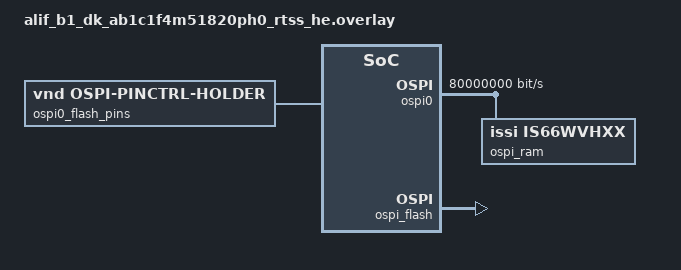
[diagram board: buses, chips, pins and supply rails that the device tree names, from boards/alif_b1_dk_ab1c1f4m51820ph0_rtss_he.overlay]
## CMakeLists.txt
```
# Copyright (C) Alif Semiconductor - All Rights Reserved.
# Use, distribution and modification of this code is permitted under the
# terms stated in the Alif Semiconductor Software License Agreement
#
# You should have received a copy of the Alif Semiconductor Software
# License Agreement with this file. If not, please write to:
# contact@alifsemi.com, or visit: https://alifsemi.com/license

cmake_minimum_required(VERSION 3.20.0)
find_package(Zephyr REQUIRED HINTS $ENV{ZEPHYR_BASE})
project(spi_flash_to_psram_copy)

target_sources(app PRIVATE src/main.c)
target_sources_ifdef(CONFIG_MEMC app PRIVATE src/flash_to_psram.c)
```

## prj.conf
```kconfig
# Copyright (C) Alif Semiconductor - All Rights Reserved.
# Use, distribution and modification of this code is permitted under the
# terms stated in the Alif Semiconductor Software License Agreement
#
# You should have received a copy of the Alif Semiconductor Software
# License Agreement with this file. If not, please write to:
# contact@alifsemi.com, or visit: https://alifsemi.com/license

#FLASH
CONFIG_STDOUT_CONSOLE=y
CONFIG_FLASH=y
CONFIG_LOG=y
CONFIG_EVENTS=y
CONFIG_MAIN_STACK_SIZE=8192
CONFIG_FLASH_LOG_LEVEL_DBG=n

# CRC32 used by flash_to_psram_verify()
CONFIG_CRC=y

# Bring-up diagnostics: flush prints synchronously and dump faults.
CONFIG_LOG_MODE_IMMEDIATE=y
CONFIG_EXCEPTION_STACK_TRACE=y

#RAM
CONFIG_PRINTK=y
CONFIG_ARM_MPU=y
CONFIG_MEMC=y
CONFIG_MEMC_OSPI_ALIF=y
CONFIG_USE_ALIF_HAL_OSPI=y
```

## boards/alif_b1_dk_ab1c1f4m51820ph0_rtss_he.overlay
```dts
/* Copyright (C) Alif Semiconductor - All Rights Reserved.
 * Use, distribution and modification of this code is permitted under the
 * terms stated in the Alif Semiconductor Software License Agreement
 *
 * You should have received a copy of the Alif Semiconductor Software
 * License Agreement with this file. If not, please write to:
 * contact@alifsemi.com, or visit: https://alifsemi.com/license
 *
 */

#include <dt-bindings/misc/alif_aipm_common.h>

/* Keep the Debug Subsystem (DBSS) powered so a debugger stays connected. */
&aipm_run_default {
	aipm-power-domains = <(ALIF_PD_SSE700_AON_MASK |
			       ALIF_PD_SYST_MASK | ALIF_PD_SESS_MASK |
			       ALIF_PD_DBSS_MASK)>;
};

/*
 * Combined OSPI0 configuration: both the external OSPI flash (SS1_B / P2_1)
 * and the HyperRAM PSRAM (SS0_A / P0_2) share the single OSPI0 controller,
 * the SCLK, the D0..D7 data lines and the RXDS strobe.
 *
 * Build this WITHOUT the `ospi-flash` / `ospi-psram` snippets -- this overlay
 * already declares both devices and all pinctrl states.
 *
 * KEY: the two devices must NOT be muxed onto the bus at the same time. When
 * the PSRAM chip-select (SS0_A) is muxed while the flash performs an octal-DDR
 * read, the physically-present HyperRAM loads the shared RXDS strobe and the
 * read never completes (hang). The loader (flash_to_psram.c) therefore owns
 * two pinctrl states and swaps them every chunk so that exactly one device is
 * connected to the bus at a time; the deselected device's chip-select is
 * parked on GPIO (released) so it stays fully quiescent.
 *
 * The PSRAM (memc) driver is `zephyr,deferred-init`: it never runs. The loader
 * drives the OSPI0 HAL directly to alternate flash reads and PSRAM XiP writes.
 */

/ {
	aliases {
		spi-flash0 = &ospi_flash;
		spi-psram = &ospi_ram;
	};

	/*
	 * Helper nodes that let the loader apply either pin state at run time.
	 * They carry no `reg` (the Alif pinctrl driver ignores it) and a
	 * placeholder compatible (`vnd,ospi-pinctrl-holder`, no driver) so that
	 * gen_defines types `pinctrl-0` as phandles and PINCTRL_DT_DEFINE() in
	 * the loader can own a pinctrl_dev_config for each state. Keeping the
	 * custom "psram" state off &ospi0 avoids breaking the flash driver's
	 * PINCTRL_DT_DEFINE.
	 */
	ospi0_flash_pins: ospi0-flash-pins {
		compatible = "vnd,ospi-pinctrl-holder";
		pinctrl-0 = <&pinctrl_ospi0_flash>;
		pinctrl-names = "default";
	};

	ospi0_psram_pins: ospi0-psram-pins {
		compatible = "vnd,ospi-pinctrl-holder";
		pinctrl-0 = <&pinctrl_ospi0_psram>;
		pinctrl-names = "default";
	};
};

&pinctrl {
	/*
	 * The board default `pinctrl_ahi_trace` muxes the AHI-trace UART onto
	 * three OSPI0 pins (P4_2 = SCLK, P4_1 = RXDS, P3_6 = D6), which clobbers
	 * the flash bus at boot and hangs the first read. Re-route trace to the
	 * P8 pins (matches the vendor `ospi-flash` snippet) so OSPI0 keeps them.
	 */
	pinctrl_ahi_trace: pinctrl_ahi_trace {
		group0 {
			pinmux = <PIN_P8_7__EXT_TX_B>,
				 <PIN_P8_3__EXT_RTS_B>,
				 <PIN_P8_5__EXT_TRACE_B>;
			read-enable = <0x0>;
		};
	};

	/*
	 * FLASH bus state: SCLK + flash CS (SS1_B) driven, data/strobe as input,
	 * PSRAM CS (P0_2) parked on GPIO so the HyperRAM is released.
	 */
	pinctrl_ospi0_flash: pinctrl_ospi0_flash {
		group0 {
			pinmux = <PIN_P4_2__OSPI0_SCLK_A>,
				 <PIN_P2_1__OSPI0_SS1_B>;
			read-enable = <0x0>;
			drive-strength = <12>;
			slew-rate = <0x1>;
		};

		group1 {
			pinmux = <PIN_P4_1__OSPI0_RXDS_A>,
				 <PIN_P3_0__OSPI0_D0_A>,
				 <PIN_P3_1__OSPI0_D1_A>,
				 <PIN_P3_2__OSPI0_D2_A>,
				 <PIN_P3_3__OSPI0_D3_A>,
				 <PIN_P3_4__OSPI0_D4_A>,
				 <PIN_P3_5__OSPI0_D5_A>,
				 <PIN_P3_6__OSPI0_D6_A>,
				 <PIN_P3_7__OSPI0_D7_A>;
			read-enable = <0x1>;
			drive-strength = <12>;
			slew-rate = <0x1>;
		};

		group2 {
			/* Park PSRAM CS as GPIO input -> HyperRAM released. */
			pinmux = <PIN_P0_2__GPIO>;
			read-enable = <0x1>;
		};
	};

	/*
	 * PSRAM bus state: SCLK + PSRAM CS (SS0_A) driven, data/strobe as input,
	 * flash CS (P2_1) parked on GPIO so the flash is released.
	 */
	pinctrl_ospi0_psram: pinctrl_ospi0_psram {
		group0 {
			pinmux = <PIN_P4_2__OSPI0_SCLK_A>,
				 <PIN_P0_2__OSPI0_SS0_A>;
			read-enable = <0x0>;
			drive-strength = <12>;
			slew-rate = <0x1>;
		};

		group1 {
			pinmux = <PIN_P4_1__OSPI0_RXDS_A>,
				 <PIN_P3_0__OSPI0_D0_A>,
				 <PIN_P3_1__OSPI0_D1_A>,
				 <PIN_P3_2__OSPI0_D2_A>,
				 <PIN_P3_3__OSPI0_D3_A>,
				 <PIN_P3_4__OSPI0_D4_A>,
				 <PIN_P3_5__OSPI0_D5_A>,
				 <PIN_P3_6__OSPI0_D6_A>,
				 <PIN_P3_7__OSPI0_D7_A>;
			read-enable = <0x1>;
			drive-strength = <12>;
			slew-rate = <0x1>;
		};

		group2 {
			/* Park flash CS as GPIO input -> flash released. */
			pinmux = <PIN_P2_1__GPIO>;
			read-enable = <0x1>;
		};
	};
};

&ospi0 {
	/*
	 * Boot state = flash pins so the flash driver comes up cleanly. The
	 * loader re-applies this (or the PSRAM state) as it alternates.
	 *
	 * cs-pin = 1 -> flash uses SS1_B. Controller timing here is the flash
	 * known-good set (ddr-drive-edge=1, rx-ds-delay=11); the loader
	 * reprograms ddr-drive-edge/rx-ds-delay to the PSRAM values around each
	 * XiP write. xip-wait-cycles / xip-base-address are the PSRAM XiP set.
	 */
	pinctrl-0 = <&pinctrl_ospi0_flash>;
	pinctrl-names = "default";

	cs-pin = <1>;
	baud2-delay = <1>;
	rx-ds-delay = <11>;
	xip-wait-cycles = <7>;
	tx-fifo-threshold = <64>;
	ddr-drive-edge = <1>;
	clocks = <&clockctrl ALIF_OSPI_CLK>;
	xip-base-address = <0xA0000000 0x10000000>;
	bus-speed = <80000000>;
	status = "okay";

	ospi_ram: hyperram {
		compatible = "issi,is66wvhxx";
		size = <DT_SIZE_M(64)>;
		/* Never brought up as a Zephyr device; the loader drives XiP. */
		zephyr,deferred-init;
		status = "okay";
	};
};

&ospi_flash {
	status = "okay";
};
```

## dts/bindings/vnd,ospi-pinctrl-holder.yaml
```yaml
# Copyright (C) Alif Semiconductor - All Rights Reserved.
# Use, distribution and modification of this code is permitted under the
# terms stated in the Alif Semiconductor Software License Agreement
#
# You should have received a copy of the Alif Semiconductor Software
# License Agreement with this file. If not, please write to:
# contact@alifsemi.com, or visit: https://alifsemi.com/license

# Placeholder node that only carries an OSPI0 pinctrl state so the loader can
# own a pinctrl_dev_config (via PINCTRL_DT_DEFINE) and apply the state at run
# time. Including pinctrl-device.yaml is what makes gen_defines type the
# `pinctrl-0` property as phandles (otherwise the pinctrl phandle/child macros
# are not emitted for the node).

description: OSPI pinctrl state holder (no driver, runtime pin switching only)

compatible: "vnd,ospi-pinctrl-holder"

include: [pinctrl-device.yaml]
```

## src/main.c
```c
/* Copyright (C) Alif Semiconductor - All Rights Reserved.
 * Use, distribution and modification of this code is permitted under the
 * terms stated in the Alif Semiconductor Software License Agreement
 *
 * You should have received a copy of the Alif Semiconductor Software
 * License Agreement with this file. If not, please write to:
 * contact@alifsemi.com, or visit: https://alifsemi.com/license
 *
 */

#include <stdio.h>
#include <string.h>
#include <zephyr/device.h>
#include <zephyr/devicetree.h>
#include <zephyr/drivers/flash.h>
#include <zephyr/kernel.h>

#include "flash_to_psram.h"

#define SPI_FLASH_TEST_REGION_OFFSET 0x0
#define SPI_FLASH_SECTOR_SIZE        4096
#define BUFF_SIZE                    1024

#define FLASH_ALIAS_NODE DT_ALIAS(spi_flash0)

const struct flash_parameters *flash_param;

int main(void)
{
	printk("%s: start\n",  __func__);

#if DT_NODE_EXISTS(FLASH_ALIAS_NODE)
	const struct device *flash_dev = DEVICE_DT_GET(FLASH_ALIAS_NODE);

	if (!device_is_ready(flash_dev)) {
		printk("%s: device not ready.\n", flash_dev->name);
		return -1;
	}
#else
	printk("spi_flash0 alias not defined; sample requires the board overlay.\n");
	return -ENOTSUP;
#endif

	/*
	 * Copy the first 4MB of the flash into the PSRAM XiP window and verify
	 * it. The copy alternates OSPI0 between the flash and the PSRAM one chunk
	 * at a time and leaves the bus in PSRAM XiP mode -- return once done.
	 */
	int err = flash_to_psram_copy(0, 0, 4 * 1024 * 1024);

	if (err != 0) {
		printk("flash_to_psram_copy failed: %d\n", err);
		return err;
	}

	err = flash_to_psram_verify(0, 4 * 1024 * 1024);
	if (err != 0) {
		printk("flash_to_psram_verify failed: %d\n", err);
		return err;
	}

	return 0;
}
```

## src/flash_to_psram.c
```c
/* Copyright (C) Alif Semiconductor - All Rights Reserved.
 * Use, distribution and modification of this code is permitted under the
 * terms stated in the Alif Semiconductor Software License Agreement
 *
 * You should have received a copy of the Alif Semiconductor Software
 * License Agreement with this file. If not, please write to:
 * contact@alifsemi.com, or visit: https://alifsemi.com/license
 *
 */

/*
 * OSPI-flash -> OSPI-HyperRAM (PSRAM) copy loader for the Balletto B1
 * (alif_b1_dk .../rtss_he).
 *
 * The OSPI flash and the HyperRAM PSRAM share the single OSPI0 controller
 * (SCLK, D0..D7 and the RXDS strobe). They cannot both be connected to the
 * bus at once, so this loader copies an arbitrarily large payload by
 * *alternating* the bus between the two devices, one SRAM-sized chunk at a
 * time -- there is no requirement that the payload fit in SRAM.
 *
 * Per chunk:
 *
 *   FLASH phase:
 *     - leave PSRAM XiP mode                        (aes_disable_xip)
 *     - apply the flash pin state                   (flash CS muxed,
 *                                                    PSRAM CS parked on GPIO)
 *     - restore flash DDR-capture timing            (ddr-drive-edge / rx-ds)
 *     - flash_read() one chunk into an SRAM buffer  (Zephyr flash driver,
 *                                                    IRQ-backed, owns OSPI0
 *                                                    command mode)
 *   PSRAM phase:
 *     - apply the PSRAM pin state                   (PSRAM CS muxed,
 *                                                    flash CS parked on GPIO)
 *     - set PSRAM DDR-capture timing                (ddr-drive-edge / rx-ds)
 *     - reconfigure OSPI0 for octal-DDR HyperRAM    (prepare_transfer +
 *                                                    ospi_hyperbus_xip_init +
 *                                                    aes_enable_xip)
 *     - copy the chunk into the PSRAM XiP window    (memory-mapped stores)
 *
 * Because the *deselected* device's chip-select is parked on GPIO, only one
 * device is ever electrically connected to the shared RXDS strobe, which is
 * what makes the octal-DDR flash read reliable (a muxed idle HyperRAM CS
 * otherwise loads the strobe and the read hangs).
 *
 * The PSRAM XiP window (0xA0000000) is in the Cortex-M55 default Device
 * memory region (non-cacheable, ordered), so the memory-mapped writes reach
 * the controller directly; a single completion barrier per chunk is enough.
 *
 * On return from a successful copy the bus is left in PSRAM XiP mode with the
 * PSRAM pins applied, so the copied data is immediately readable (execute-in-
 * place) at PSRAM_XIP_BASE and flash_to_psram_verify() can read it back.
 *
 * NOTE: board bring-up code. The per-device DDR-capture timing values below
 * are the vendor snippet defaults and can be tuned on real hardware.
 */

#include <zephyr/kernel.h>
#include <zephyr/device.h>
#include <zephyr/devicetree.h>
#include <zephyr/drivers/flash.h>
#include <zephyr/drivers/pinctrl.h>
#include <zephyr/sys/util.h>
#include <zephyr/sys/barrier.h>
#include <zephyr/sys/crc.h>
#include <string.h>

#include "flash_to_psram.h"

#define FLASH_NODE	DT_ALIAS(spi_flash0)
#define PSRAM_NODE	DT_ALIAS(spi_psram)

#if DT_NODE_EXISTS(FLASH_NODE) && DT_NODE_EXISTS(PSRAM_NODE)

#include "ospi_hal.h"
#include "ospi.h"

/* The OSPI0 controller node (parent of both the flash and the PSRAM child). */
#define OSPI0_NODE	DT_PARENT(PSRAM_NODE)

/* PSRAM XiP window base address (declared on the OSPI0 controller node). */
#define PSRAM_XIP_BASE	DT_PROP_BY_IDX(OSPI0_NODE, xip_base_address, 0)
#define PSRAM_XIP_SIZE	DT_PROP_BY_IDX(OSPI0_NODE, xip_base_address, 1)

/* Usable destination = min(physical HyperRAM size, controller XiP window). */
#define PSRAM_USABLE_SIZE \
	MIN((size_t)PSRAM_XIP_SIZE, (size_t)DT_PROP(PSRAM_NODE, size))

/*
 * Per-device DDR-capture timing. Flash values are the OSPI0 node defaults;
 * PSRAM values are the vendor `ospi-psram` snippet defaults. They are applied
 * to the shared controller registers around each phase. Override from the
 * build if a board needs different values.
 */
#ifndef FLASH_DDR_DRIVE_EDGE
#define FLASH_DDR_DRIVE_EDGE	1U
#endif
#ifndef FLASH_RX_DS_DELAY
#define FLASH_RX_DS_DELAY	11U
#endif
#ifndef PSRAM_DDR_DRIVE_EDGE
#define PSRAM_DDR_DRIVE_EDGE	0U
#endif
#ifndef PSRAM_RX_DS_DELAY
#define PSRAM_RX_DS_DELAY	8U
#endif

/* PSRAM chip-select (SS0_A). */
#define PSRAM_CS_PIN		0U

/* HyperRAM R/W transactions are octal-DDR commands with 16-bit frames.
 * Note! Must be a positive multiple of 2
 */
#define PSRAM_OSPI_DFS		16U

/* SRAM staging buffer size per alternating chunk (tunable). */
#ifndef FLASH_TO_PSRAM_CHUNK
#define FLASH_TO_PSRAM_CHUNK	(8U * 1024U)
#endif

/* Pin states (owned via helper DT nodes so the flash driver is unaffected). */
PINCTRL_DT_DEFINE(DT_NODELABEL(ospi0_flash_pins));
PINCTRL_DT_DEFINE(DT_NODELABEL(ospi0_psram_pins));

static const struct pinctrl_dev_config *const flash_pins =
	PINCTRL_DT_DEV_CONFIG_GET(DT_NODELABEL(ospi0_flash_pins));
static const struct pinctrl_dev_config *const psram_pins =
	PINCTRL_DT_DEV_CONFIG_GET(DT_NODELABEL(ospi0_psram_pins));

static struct ospi_regs *const ospi_regs =
	(struct ospi_regs *)DT_REG_ADDR(OSPI0_NODE);
static struct ospi_aes_regs *const ospi_aes =
	(struct ospi_aes_regs *)DT_PROP_BY_IDX(OSPI0_NODE, aes_reg, 0);

static uint8_t stage_buf[FLASH_TO_PSRAM_CHUNK] __aligned(4);

static HAL_OSPI_Handle_T psram_handle;
static bool psram_handle_ready;

static void loader_ospi_event_cb(uint32_t event, void *user_data)
{
	ARG_UNUSED(event);
	ARG_UNUSED(user_data);
}

/*
 * One-time: grab a second OSPI0 HAL instance for the PSRAM chip-select. This
 * writes the shared controller globals (thresholds, bus speed, baud2); the
 * per-phase timing (ddr-drive-edge / rx-ds-delay) is (re)programmed on every
 * switch, so the values passed here only seed the instance.
 */
static int psram_handle_init(void)
{
	struct ospi_init init_config;
	int32_t ret;

	if (psram_handle_ready) {
		return 0;
	}

	memset(&init_config, 0, sizeof(init_config));
	init_config.core_clk = DT_PROP(OSPI0_NODE, clock_frequency);
	init_config.bus_speed = DT_PROP(OSPI0_NODE, bus_speed);
	init_config.tx_fifo_threshold = DT_PROP(OSPI0_NODE, tx_fifo_threshold);
	init_config.rx_fifo_threshold = 0U;
	init_config.rx_sample_delay = 0U;
	init_config.ddr_drive_edge = PSRAM_DDR_DRIVE_EDGE;
	init_config.cs_pin = PSRAM_CS_PIN;
	init_config.rx_ds_delay = PSRAM_RX_DS_DELAY;
	init_config.baud2_delay = DT_PROP(OSPI0_NODE, baud2_delay);
	init_config.base_regs = (uint32_t *)ospi_regs;
	init_config.aes_regs = (uint32_t *)ospi_aes;
	init_config.event_cb = loader_ospi_event_cb;
	init_config.user_data = NULL;

	ret = alif_hal_ospi_initialize(&psram_handle, &init_config);
	if (ret != 0) {
		printk("copy: psram HAL init failed: %d\n", (int)ret);
		return -EIO;
	}

	psram_handle_ready = true;
	return 0;
}

/* Hand the shared bus to the flash: leave XiP, mux flash pins, flash timing. */
static int bus_to_flash(void)
{
	int ret;

	aes_disable_xip(ospi_aes);
	ret = pinctrl_apply_state(flash_pins, PINCTRL_STATE_DEFAULT);
	if (ret != 0) {
		printk("copy: apply flash pinctrl failed: %d\n", ret);
		return ret;
	}
	ospi_set_ddr_drive_edge(ospi_regs, FLASH_DDR_DRIVE_EDGE);
	ospi_aes->AES_RXDS_DLY = FLASH_RX_DS_DELAY;
	return 0;
}

/*
 * Hand the shared bus to the PSRAM: mux PSRAM pins, PSRAM timing, reconfigure
 * OSPI0 for octal-DDR HyperRAM and enter memory-mapped XiP.
 */
static int bus_to_psram(void)
{
	struct ospi_trans_config trans_conf;
	struct ospi_xip_config xip_cfg;
	int ret;

	ret = pinctrl_apply_state(psram_pins, PINCTRL_STATE_DEFAULT);
	if (ret != 0) {
		printk("copy: apply psram pinctrl failed: %d\n", ret);
		return ret;
	}
	ospi_set_ddr_drive_edge(ospi_regs, PSRAM_DDR_DRIVE_EDGE);
	ospi_aes->AES_RXDS_DLY = PSRAM_RX_DS_DELAY;

	memset(&trans_conf, 0, sizeof(trans_conf));
	trans_conf.frame_size = PSRAM_OSPI_DFS;
	trans_conf.frame_format = OSPI_FRF_OCTAL;
	trans_conf.ddr_enable = OSPI_DDR_ENABLE;
	ret = alif_hal_ospi_prepare_transfer(psram_handle, &trans_conf);
	if (ret != 0) {
		printk("copy: PSRAM transfer setup failed: %d\n", ret);
		return ret;
	}

	memset(&xip_cfg, 0, sizeof(xip_cfg));
	xip_cfg.xip_wait_cycles = DT_PROP(OSPI0_NODE, xip_wait_cycles);
	xip_cfg.xip_cs_pin = PSRAM_CS_PIN;
	ospi_hyperbus_xip_init(ospi_regs, &xip_cfg, false);

	aes_enable_xip(ospi_aes);
	return 0;
}

/* Copy one chunk from the SRAM buffer into the PSRAM XiP window (16-bit). */
static void psram_xip_write(off_t psram_off, const uint8_t *src, size_t len)
{
	volatile uint16_t *dst =
		(volatile uint16_t *)(uintptr_t)(PSRAM_XIP_BASE + psram_off);
	const uint16_t *words = (const uint16_t *)src;
	size_t nwords = len / sizeof(uint16_t);

	for (size_t i = 0; i < nwords; i++) {
		dst[i] = words[i];
	}

	barrier_dsync_fence_full();
}

int flash_to_psram_copy(off_t flash_off, off_t psram_off, size_t len)
{
	const struct device *flash_dev = DEVICE_DT_GET(FLASH_NODE);
	int ret;

	if (len == 0U) {
		return 0;
	}

	/* 16-bit HyperRAM frames and the XiP window must contain the destination. */
	if (psram_off < 0 || (len % 2U) != 0U || (psram_off % 2) != 0 ||
	    (size_t)psram_off > PSRAM_USABLE_SIZE ||
	    len > PSRAM_USABLE_SIZE - (size_t)psram_off) {
		return -EINVAL;
	}

	if (!device_is_ready(flash_dev)) {
		return -ENODEV;
	}

	ret = psram_handle_init();
	if (ret != 0) {
		return ret;
	}

	printk("copy: %zu bytes flash@0x%lx -> psram@0x%lx (chunk %uB)\n",
	       len, (unsigned long)flash_off, (unsigned long)psram_off,
	       (unsigned int)FLASH_TO_PSRAM_CHUNK);

	for (size_t done = 0; done < len; done += FLASH_TO_PSRAM_CHUNK) {
		size_t chunk = MIN((size_t)FLASH_TO_PSRAM_CHUNK, len - done);

		/* FLASH phase: stage one chunk from flash into SRAM. */
		ret = bus_to_flash();
		if (ret != 0) {
			return ret;
		}
		ret = flash_read(flash_dev, flash_off + done, stage_buf, chunk);
		if (ret != 0) {
			printk("copy: flash_read @0x%zx failed: %d\n",
			       (size_t)flash_off + done, ret);
			return ret;
		}

		/* PSRAM phase: push the chunk into the PSRAM XiP window. */
		ret = bus_to_psram();
		if (ret != 0) {
			return ret;
		}
		psram_xip_write(psram_off + done, stage_buf, chunk);
	}

	printk("copy: done (%zu bytes, bus left in PSRAM XiP mode)\n", len);
	return 0;
}

/* Layout produced by test_4mb.bin: 8-byte magic, offset-encoded words, CRC32 tail. */
#define TEST_MAGIC		"ALIFPSRM"
#define TEST_MAGIC_LEN		8U

int flash_to_psram_verify(off_t psram_off, size_t len)
{
	const uint8_t *base = (const uint8_t *)(uintptr_t)(PSRAM_XIP_BASE + psram_off);
	uint32_t calc_crc, trailer;
	bool magic_ok, pattern_ok, crc_ok;

	if (len < (TEST_MAGIC_LEN + 4U) || (len % 4U) != 0U) {
		return -EINVAL;
	}

	/* Destination range must fit inside the PSRAM XiP window. */
	if (psram_off < 0 || (size_t)psram_off > PSRAM_USABLE_SIZE ||
	    len > PSRAM_USABLE_SIZE - (size_t)psram_off) {
		return -EINVAL;
	}

	/* 1. Magic header copied intact. */
	magic_ok = (memcmp(base, TEST_MAGIC, TEST_MAGIC_LEN) == 0);
	if (magic_ok) {
		printk("verify: magic OK (%.8s)\n", base);
	} else {
		printk("verify: magic FAIL (got %02x %02x %02x %02x ...)\n",
		       base[0], base[1], base[2], base[3]);
	}

	/* 2. Every word (past the magic, before the CRC tail) equals its offset. */
	pattern_ok = true;
	for (size_t off = TEST_MAGIC_LEN; off < (len - 4U); off += 4U) {
		uint32_t word;

		memcpy(&word, base + off, sizeof(word));
		if (word != (uint32_t)off) {
			printk("verify: pattern FAIL @0x%05zx exp 0x%08x got 0x%08x\n",
			       off, (uint32_t)off, word);
			pattern_ok = false;
			break;
		}
	}
	if (pattern_ok) {
		printk("verify: offset-word pattern OK (0x%x..0x%x)\n",
		       (uint32_t)TEST_MAGIC_LEN, (uint32_t)(len - 8U));
	}

	/* 3. CRC32 over everything but the 4-byte trailer. */
	calc_crc = crc32_ieee(base, len - 4U);
	memcpy(&trailer, base + (len - 4U), sizeof(trailer));
	crc_ok = (calc_crc == trailer);
	printk("verify: crc32 %s (calc 0x%08x, stored 0x%08x)\n",
	       crc_ok ? "OK" : "FAIL", calc_crc, trailer);

	if (magic_ok && pattern_ok && crc_ok) {
		printk("verify: PASS -- %zu bytes copied to PSRAM XiP @0x%08lx\n",
		       len, (unsigned long)(uintptr_t)base);
		return 0;
	}

	printk("verify: FAIL\n");
	return -EIO;
}

#else /* !(flash0 && psram aliases) */

int flash_to_psram_copy(off_t flash_off, off_t psram_off, size_t len)
{
	ARG_UNUSED(flash_off);
	ARG_UNUSED(psram_off);
	ARG_UNUSED(len);

	return -ENOTSUP;
}

int flash_to_psram_verify(off_t psram_off, size_t len)
{
	ARG_UNUSED(psram_off);
	ARG_UNUSED(len);

	return -ENOTSUP;
}

#endif /* flash0 && psram aliases */
```

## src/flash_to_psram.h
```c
/* Copyright (C) Alif Semiconductor - All Rights Reserved.
 * Use, distribution and modification of this code is permitted under the
 * terms stated in the Alif Semiconductor Software License Agreement
 *
 * You should have received a copy of the Alif Semiconductor Software
 * License Agreement with this file. If not, please write to:
 * contact@alifsemi.com, or visit: https://alifsemi.com/license
 *
 */

#ifndef FLASH_TO_PSRAM_H_
#define FLASH_TO_PSRAM_H_

#include <sys/types.h>
#include <stddef.h>

/**
 * @brief Copy a payload from OSPI flash into OSPI HyperRAM (PSRAM) XiP.
 *
 * Copies @p len bytes starting at @p flash_off in the OSPI flash to the PSRAM
 * XiP window at @p psram_off. Flash and PSRAM share one OSPI0 controller, so
 * the copy alternates the bus between them one SRAM-sized chunk at a time --
 * the payload may be arbitrarily large (it need not fit in SRAM).
 *
 * On success the bus is left in PSRAM XiP mode, so the copied data is
 * immediately readable at the PSRAM XiP base address.
 *
 * @param flash_off  Source byte offset within the OSPI flash.
 * @param psram_off  Destination byte offset within the PSRAM XiP window
 *                   (must be 2-byte aligned).
 * @param len        Number of bytes to copy (must be a multiple of 2).
 *
 * @retval 0        on success.
 * @retval -EINVAL  if @p len or @p psram_off is not 2-byte aligned.
 * @retval -ENODEV  if the flash device is not ready.
 * @retval -EIO     if the PSRAM OSPI HAL instance could not be initialised.
 * @retval <0       propagated flash_read() error.
 * @retval -ENOTSUP if the flash/psram aliases are not present.
 */
int flash_to_psram_copy(off_t flash_off, off_t psram_off, size_t len);

/**
 * @brief Verify a payload previously copied into the PSRAM XiP window.
 *
 * Reads back @p len bytes from the PSRAM XiP window at @p psram_off and
 * checks the test.bin layout: 8-byte "ALIFPSRM" magic, offset-encoded 32-bit
 * words, and a trailing little-endian CRC32 over the first (len - 4) bytes.
 * Progress and pass/fail are printed via printk.
 *
 * @param psram_off  Byte offset within the PSRAM XiP window.
 * @param len        Number of bytes to verify (multiple of 4, >= 12).
 *
 * @retval 0        on success (all checks passed).
 * @retval -EINVAL  if @p len is too small or not word-aligned.
 * @retval -EIO     if any check failed.
 * @retval -ENOTSUP if the flash/psram aliases are not present.
 */
int flash_to_psram_verify(off_t psram_off, size_t len);

#endif /* FLASH_TO_PSRAM_H_ */
```
